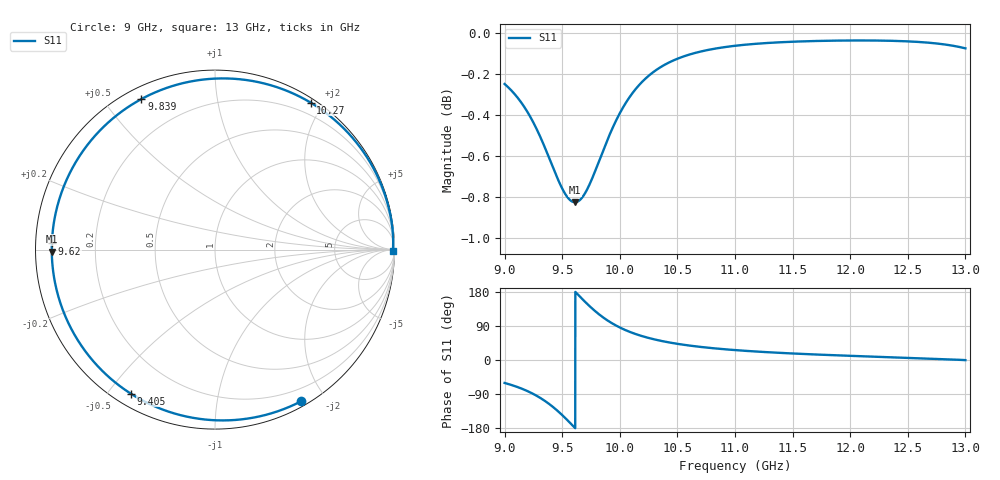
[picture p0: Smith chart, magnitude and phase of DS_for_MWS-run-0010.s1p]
! TOUCHSTONE file generated by CST DESIGN STUDIO
! Date and time: Tue Feb  4 16:14:33 2025
! Project name: C:\Work\MatlabApps\UnitCellOptimizationMatlab\CST\unitcell.cst
! Tree item: Tasks\Sweep1\SPara1\S-Parameters
! Header version: 2024
! Port assignment regex: !\s*Touchstone port\s*([0-9]+)\s*=\s*(CST MWS port|CST DES external port|CST DES block port)\s*(.+)\s* \(\"(.*)\"\)(\s*mode\s*([0-9]+))?.*
! Touchstone port assignment:
! Touchstone port 1 = CST DES external port 1 ("")
# GHz S MA R 50
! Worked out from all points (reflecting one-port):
!   4001 points, 9 GHz to 13 GHz, reference 50 ohm
!   lowest |S11| = -0.8 dB at 9.611 GHz (marker M1), VSWR 21.10, Z = 2.37 - j0.294 ohm
!   phase of S11 starts at -61 deg and turns -300 deg over the sweep
!   S11 on the Smith chart (normalised r, x): 9 GHz: 0.06, -1.71; 9.405 GHz: 0.05, -0.57; 9.62 GHz: 0.05, +0.02; 9.839 GHz: 0.05, +0.62; 10.27 GHz: 0.05, +1.84; 13 GHz: open
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9  0.9717 -60.6
9.055  0.9685 -65.5
9.127  0.9632 -73.1
9.19  0.9575 -80.9
9.251  0.9509 -89.9
9.333  0.9402 -104.6
9.405  0.9296 -120.3
9.453  0.9226 -132.4
9.5  0.9165 -145.4
9.558  0.9112 -162.7
9.611  0.9095 -179.3
9.62  0.9096 177.8
9.676  0.9121 160.3
9.737  0.9186 142.3
9.788  0.9258 128.4
9.839  0.9337 116.0
9.913  0.9447 100.5
10  0.956 85.8
10.125  0.968 69.8
10.266  0.977 56.9
10.375  0.9817 49.4
10.5  0.9856 42.7
10.72  0.9898 33.9
11  0.9927 26.2
11.5  0.995 17.2
12  0.9957 11.0
12.5  0.9952 5.8
13  0.9913 -0.3
